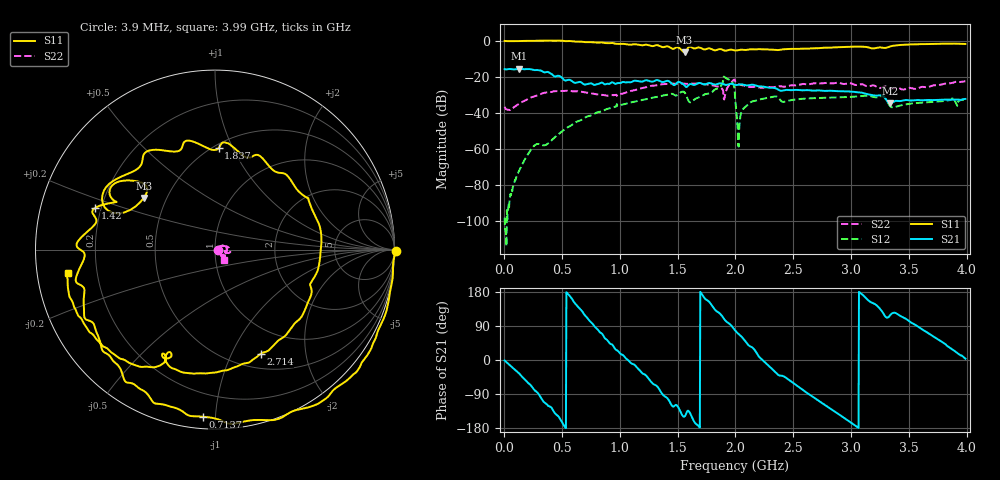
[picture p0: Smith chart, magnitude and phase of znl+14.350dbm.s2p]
#  HZ  S  RI  R  50.00
! Rohde & Schwarz Vector Network Analyzer
! Rohde-Schwarz,ZNL20-2Port,1323001220101312,1.72.1.6-23.02.1.246
! Created: UTC 10/14/2024, 9:01:55 PM
! freq[Hz]  re:S11  im:S11  re:S21  im:S21  re:S12  im:S12  re:S22  im:S22
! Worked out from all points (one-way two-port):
!   1023 points, 3.9 MHz to 3.99 GHz, reference 50 ohm
!   highest |S21| = -15.33 dB at 132.6 MHz (marker M1); lowest = -34.5 dB at 3.338 GHz (marker M2)
!   lowest |S11| = -6.2 dB at 1.56 GHz (marker M3), VSWR 2.92, Z = 18.7 + j14.1 ohm
!   |S11| at or under -10 dB: nowhere
!   |S22| runs from -38.3 to -21.3 dB; largest |S21 - S12| = 0.17
!   S11 on the Smith chart (normalised r, x): 3.9 MHz: open; 713.7 MHz: 0.06, -0.93; 1.42 GHz: 0.18, +0.16; 1.837 GHz: 0.53, +0.88; 2.714 GHz: 0.67, -1.30; 3.99 GHz: 0.09, -0.08
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3900000  1.01 -0.00691  0.1664 -0.0034  1.19e-05 3.93e-06  0.0149 0.000146
1.326e8  0.976 -0.2289  0.1376 -0.1019  -0.000232 0.000127  0.0151 0.0109
2.613e8  0.9027 -0.4691  0.03 -0.1529  -0.000359 0.00121  0.023 0.018
6.708e8  0.0511 -0.9601  -0.045 0.0538  0.0057 0.00326  0.039 0.0037
7.137e8  -0.0658 -0.9315  -0.0249 0.0583  0.00758 0.00241  0.037 0.0024
1.3338e9  -0.7561 0.0559  0.0231 -0.0781  -0.0247 -0.0144  0.0565 0.02
1.4196e9  -0.6688 0.232  -0.0189 -0.0759  -0.0329 -0.00219  0.0628 0.0143
1.56e9  -0.397 0.2874  -0.0505 -0.0301  -0.0212 0.0312  0.0656 0.00234
1.6146e9  -0.5901 0.3658  -0.052 -0.0376  -0.0117 0.0164  0.0657 0.000881
1.8369e9  0.02 0.5652  -0.0393 0.0491  0.000826 0.0475  0.0526 -0.018
1.9188e9  0.183 0.5122  -0.0129 0.0593  0.0864 0.0371  0.0374 0.0164
1.9734e9  0.267 0.5066  0.00255 0.0644  0.0576 -0.0425  0.0755 0.0118
1.9968e9  0.3134 0.452  0.0122 0.0595  -0.0163 -0.0236  0.0757 -0.0196
2.0163e9  0.3503 0.4292  0.0189 0.0575  -0.00307 -0.0048  0.0649 -0.0184
2.0319e9  0.3735 0.4267  0.0234 0.0574  0.001 0.00283  0.0604 -0.0189
2.067e9  0.4225 0.3867  0.0338 0.0519  0.0109 0.00725  0.057 -0.017
2.145e9  0.5199 0.2828  0.0516 0.0338  0.0201 0.00609  0.051 -0.0145
2.6637e9  0.3109 -0.5501  -0.0042 -0.0421  -0.0024 -0.0258  0.063 -0.019
2.7144e9  0.2537 -0.581  -0.0121 -0.041  -0.00739 -0.0252  0.0635 -0.0199
3.3267e9  -0.2805 -0.6262  -0.00772 0.0175  -0.000315 0.0177  0.0392 -0.033
3.3384e9  -0.2992 -0.6412  -0.00887 0.0165  -0.00115 0.0157  0.0369 -0.0324
3.9897e9  -0.8214 -0.1325  0.0248 0.00149  0.024 0.00104  0.0522 -0.0566
